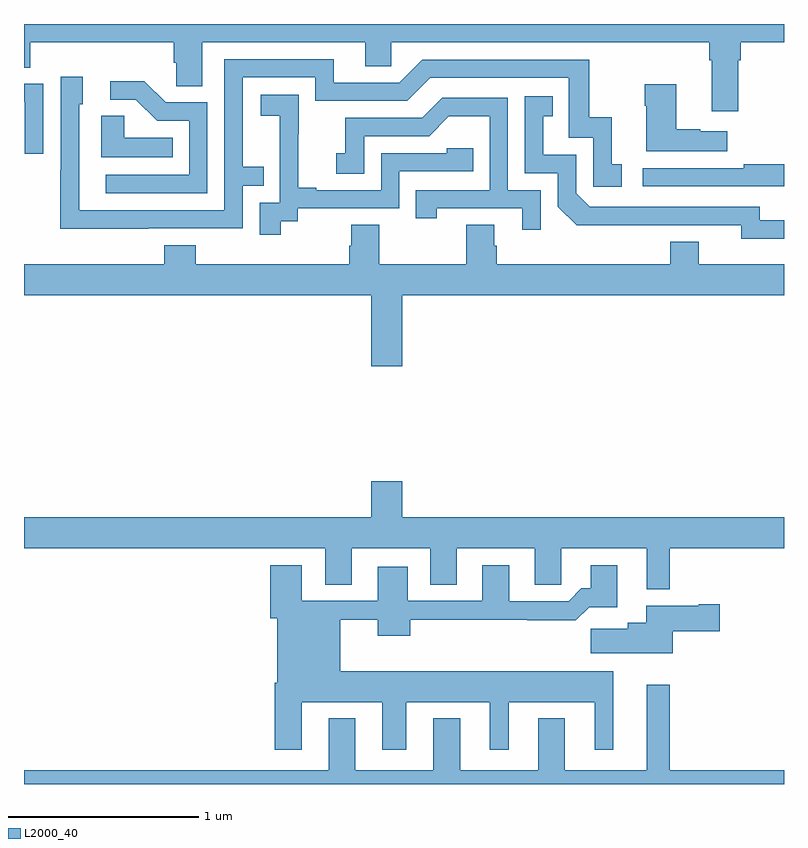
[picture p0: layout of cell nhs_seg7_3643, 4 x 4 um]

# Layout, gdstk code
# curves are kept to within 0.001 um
import gdstk
lib = gdstk.Library(unit=1e-6, precision=1e-09)
def P(c, l, *ps):  # polygons
    for p in ps: c.add(gdstk.Polygon(p, *l))
L2000_40 = (2000, 40)

nhs_seg7_3643 = lib.new_cell('nhs_seg7_3643')
P(nhs_seg7_3643, L2000_40, [(346.759,1045.808),(346.772,1045.808),(346.772,1045.904),(347,1045.904),(347,1046),(343,1046),(343,1045.771),(343.034,1045.771),(343.034,1045.904),(343.787,1045.904),(343.787,1045.795),(343.8,1045.795),(343.8,1045.672),(343.939,1045.672),(343.939,1045.904),(344.795,1045.904),(344.795,1045.777),(344.934,1045.777),(344.934,1045.904),(346.607,1045.904),(346.607,1045.808),(346.619,1045.808),(346.619,1045.542),(346.759,1045.542)],
  [(343.655,1044.924),(344.151,1044.924),(344.151,1045.149),(344.261,1045.149),(344.261,1045.25),(344.151,1045.25),(344.151,1045.719),(344.532,1045.719),(344.532,1045.596),(345.018,1045.596),(345.138,1045.716),(345.867,1045.716),(345.867,1045.401),(345.996,1045.401),(345.996,1045.143),(346.147,1045.143),(346.147,1045.263),(346.094,1045.263),(346.094,1045.51),(345.976,1045.51),(345.976,1045.812),(345.096,1045.812),(344.976,1045.692),(344.629,1045.692),(344.629,1045.815),(344.055,1045.815),(344.055,1045.02),(343.29,1045.02),(343.29,1045.578),(343.309,1045.578),(343.309,1045.723),(343.194,1045.723),(343.194,1045.229),(343.192,1045.229),(343.192,1044.923)],
  [(343.965,1045.587),(343.746,1045.587),(343.633,1045.7),(343.455,1045.7),(343.455,1045.602),(343.589,1045.602),(343.7,1045.491),(343.869,1045.491),(343.869,1045.206),(343.431,1045.206),(343.431,1045.11),(343.965,1045.11)],
  [(343.101,1045.686),(343,1045.686),(343,1045.59),(343.005,1045.59),(343.005,1045.317),(343.101,1045.317)],
  [(346.702,1045.435),(346.559,1045.435),(346.559,1045.445),(346.432,1045.445),(346.432,1045.684),(346.267,1045.684),(346.267,1045.571),(346.274,1045.571),(346.274,1045.331),(346.702,1045.331)],
  [(344.35,1044.961),(344.442,1044.961),(344.442,1045.029),(344.976,1045.029),(344.976,1045.224),(345.365,1045.224),(345.365,1045.347),(345.225,1045.347),(345.225,1045.32),(344.88,1045.32),(344.88,1045.125),(344.539,1045.125),(344.539,1045.138),(344.444,1045.138),(344.444,1045.421),(344.445,1045.421),(344.445,1045.627),(344.247,1045.627),(344.247,1045.517),(344.345,1045.517),(344.345,1045.289),(344.346,1045.289),(344.346,1045.059),(344.241,1045.059),(344.241,1044.891),(344.35,1044.891)],
  [(347,1044.966),(346.872,1044.966),(346.872,1045.038),(345.978,1045.038),(345.906,1045.11),(345.906,1045.311),(345.733,1045.311),(345.733,1045.515),(345.782,1045.515),(345.782,1045.621),(345.636,1045.621),(345.636,1045.215),(345.81,1045.215),(345.81,1045.038),(345.908,1044.941),(346.776,1044.942),(346.776,1044.869),(347,1044.869)],
  [(345.72,1045.125),(345.546,1045.125),(345.546,1045.611),(345.2,1045.611),(345.095,1045.506),(344.692,1045.506),(344.692,1045.321),(344.643,1045.321),(344.643,1045.212),(344.79,1045.212),(344.79,1045.41),(345.132,1045.41),(345.236,1045.514),(345.45,1045.514),(345.45,1045.125),(345.061,1045.125),(345.061,1044.978),(345.172,1044.978),(345.172,1045.029),(345.623,1045.029),(345.623,1044.918),(345.72,1044.918)],
  [(343.784,1045.402),(343.527,1045.402),(343.527,1045.517),(343.406,1045.517),(343.406,1045.298),(343.784,1045.298)],
  [(347,1045.262),(346.789,1045.262),(346.789,1045.242),(346.257,1045.242),(346.257,1045.146),(347,1045.146)],
  [(344.992,1044.572),(347,1044.572),(347,1044.736),(346.552,1044.736),(346.552,1044.853),(346.4,1044.853),(346.4,1044.736),(345.488,1044.736),(345.488,1044.834),(345.475,1044.834),(345.475,1044.944),(345.328,1044.944),(345.328,1044.736),(344.871,1044.736),(344.871,1044.944),(344.723,1044.944),(344.723,1044.834),(344.711,1044.834),(344.711,1044.736),(343.904,1044.736),(343.904,1044.835),(343.739,1044.835),(343.739,1044.736),(343,1044.736),(343,1044.572),(344.828,1044.572),(344.828,1044.198),(344.992,1044.198)],
  [(344.992,1043.593),(344.828,1043.593),(344.828,1043.404),(343,1043.404),(343,1043.24),(344.585,1043.24),(344.585,1043.05),(344.725,1043.05),(344.725,1043.24),(345.137,1043.24),(345.137,1043.05),(345.277,1043.05),(345.277,1043.24),(345.689,1043.24),(345.689,1043.05),(345.828,1043.05),(345.828,1043.24),(346.277,1043.24),(346.277,1043.024),(346.399,1043.024),(346.399,1043.24),(347,1043.24),(347,1043.404),(344.992,1043.404)],
  [(344.461,1042.43),(344.885,1042.43),(344.885,1042.179),(345.013,1042.179),(345.013,1042.43),(345.452,1042.43),(345.452,1042.179),(345.55,1042.179),(345.55,1042.43),(346.004,1042.43),(346.004,1042.179),(346.102,1042.179),(346.102,1042.594),(344.665,1042.594),(344.665,1042.864),(344.861,1042.864),(344.861,1042.781),(345.032,1042.781),(345.032,1042.864),(345.649,1042.864),(345.649,1042.862),(345.905,1042.862),(345.974,1042.931),(346.123,1042.931),(346.123,1043.152),(345.983,1043.152),(345.983,1043.029),(345.934,1043.029),(345.867,1042.962),(345.553,1042.962),(345.553,1043.152),(345.413,1043.152),(345.413,1042.965),(345.019,1042.965),(345.019,1043.143),(344.861,1043.143),(344.861,1042.965),(344.461,1042.965),(344.461,1043.152),(344.297,1043.152),(344.297,1042.872),(344.333,1042.872),(344.333,1042.534),(344.321,1042.534),(344.321,1042.179),(344.461,1042.179)],
  [(346.414,1042.805),(346.663,1042.805),(346.663,1042.947),(346.55,1042.947),(346.55,1042.939),(346.274,1042.939),(346.274,1042.849),(346.178,1042.849),(346.178,1042.817),(345.984,1042.817),(345.984,1042.688),(346.414,1042.688)],
  [(343,1042),(347,1042),(347,1042.072),(346.399,1042.072),(346.399,1042.522),(346.277,1042.522),(346.277,1042.072),(345.847,1042.072),(345.847,1042.345),(345.707,1042.345),(345.707,1042.072),(345.295,1042.072),(345.295,1042.345),(345.155,1042.345),(345.155,1042.072),(344.743,1042.072),(344.743,1042.345),(344.603,1042.345),(344.603,1042.072),(343,1042.072)])

lib.write_gds('nhs_seg7_3643.gds')
